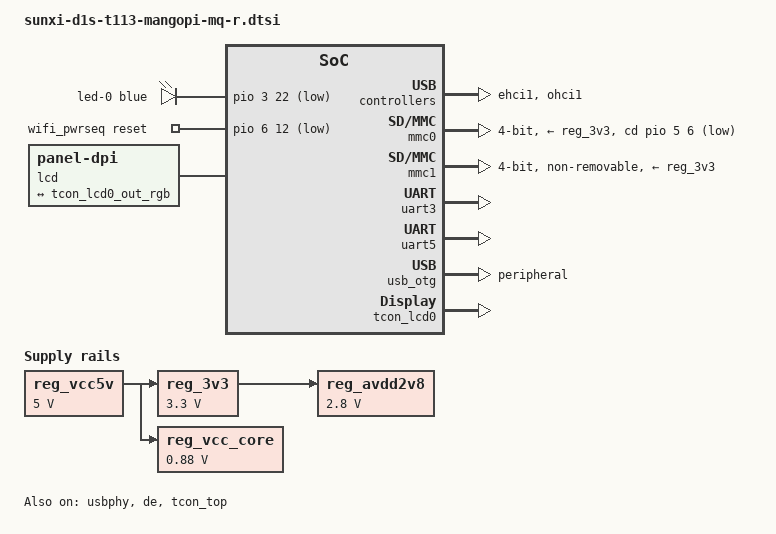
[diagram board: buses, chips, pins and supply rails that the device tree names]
// SPDX-License-Identifier: (GPL-2.0+ OR MIT)
// Copyright (C) 2022 Arm Ltd.
/*
 * Common peripherals and configurations for MangoPi MQ-R boards.
 */

#include <dt-bindings/gpio/gpio.h>
#include <dt-bindings/leds/common.h>

/ {
	aliases {
		serial5 = &uart5;
	};

	chosen {
		stdout-path = "serial5:115200n8";
		bootargs = "mem=128M cma=4M root=/dev/mmcblk0p2 init=/sbin/init console=ttyS5,115200 rootwait clk_ignore_unused drm.debug=0x3";
	};

	leds {
		compatible = "gpio-leds";

		led-0 {
			color = <LED_COLOR_ID_BLUE>;
			function = LED_FUNCTION_STATUS;
			gpios = <&pio 3 22 GPIO_ACTIVE_LOW>; /* PD22 */
		};
	};

	/* board wide 5V supply directly from the USB-C socket */
	reg_vcc5v: regulator-5v {
		compatible = "regulator-fixed";
		regulator-name = "vcc-5v";
		regulator-min-microvolt = <5000000>;
		regulator-max-microvolt = <5000000>;
		regulator-always-on;
	};

	/* SY8008 DC/DC regulator on the board */
	reg_3v3: regulator-3v3 {
		compatible = "regulator-fixed";
		regulator-name = "vcc-3v3";
		regulator-min-microvolt = <3300000>;
		regulator-max-microvolt = <3300000>;
		vin-supply = <&reg_vcc5v>;
	};

	/* SY8008 DC/DC regulator on the board, also supplying VDD-SYS */
	reg_vcc_core: regulator-core {
		compatible = "regulator-fixed";
		regulator-name = "vcc-core";
		regulator-min-microvolt = <880000>;
		regulator-max-microvolt = <880000>;
		vin-supply = <&reg_vcc5v>;
	};

	/* XC6206 LDO on the board */
	reg_avdd2v8: regulator-avdd {
		compatible = "regulator-fixed";
		regulator-name = "avdd2v8";
		regulator-min-microvolt = <2800000>;
		regulator-max-microvolt = <2800000>;
		vin-supply = <&reg_3v3>;
	};

	wifi_pwrseq: wifi-pwrseq {
		compatible = "mmc-pwrseq-simple";
		reset-gpios = <&pio 6 12 GPIO_ACTIVE_LOW>; /* PG12 */
	};

	panel_rgb: panel-rgb {
		compatible = "panel-dpi";
		label = "lcd";
		port {
			panel_in_rgb: endpoint {
				remote-endpoint = <&tcon_lcd0_out_rgb>;
			};
		};

		panel-timing {
			clock-frequency = <30000000>;
			hactive = <800>;
			vactive = <480>;
			hfront-porch = <40>;
			hback-porch = <88>;
			hsync-len = <1>;
			vback-porch = <32>;
			vfront-porch = <13>;
			vsync-len = <3>;

			hsync-active = <1>;
			vsync-active = <1>;
			de-active = <1>;
			pixelclk-active = <1>;
		};
	};
};

&dcxo {
	clock-frequency = <24000000>;
};

&ehci1 {
	status = "okay";
};

&mmc0 {
	pinctrl-0 = <&mmc0_pins>;
	pinctrl-names = "default";
	vmmc-supply = <&reg_3v3>;
	cd-gpios = <&pio 5 6 GPIO_ACTIVE_LOW>;
	disable-wp;
	bus-width = <4>;
	status = "okay";
};

&mmc1 {
	pinctrl-0 = <&mmc1_pins>;
	pinctrl-names = "default";
	vmmc-supply = <&reg_3v3>;
	non-removable;
	bus-width = <4>;
	mmc-pwrseq = <&wifi_pwrseq>;
	status = "okay";
};

&ohci1 {
	status = "okay";
};

&pio {
	vcc-pb-supply = <&reg_3v3>;
	vcc-pd-supply = <&reg_3v3>;
	vcc-pe-supply = <&reg_avdd2v8>;
	vcc-pf-supply = <&reg_3v3>;
	vcc-pg-supply = <&reg_3v3>;
};

&uart3 {
	pinctrl-names = "default";
	pinctrl-0 = <&uart3_pb_pins>;
	status = "okay";
};

&uart5 {
	pinctrl-names = "default";
	pinctrl-0 = <&uart5_pb_pins>;
	status = "okay";
};

/* The USB-C socket has its CC pins pulled to GND, so is hardwired as a UFP. */
&usb_otg {
	dr_mode = "peripheral";
	status = "okay";
};

&usbphy {
	usb1_vbus-supply = <&reg_vcc5v>;
	status = "okay";
};

&de {
	status = "okay";
};

&tcon_top {
	status = "okay";
};

&tcon_lcd0 {
	pinctrl-names = "default";
	pinctrl-0 = <&lcd_rgb666_pins>;

	status = "okay";
};

&tcon_lcd0_out {
	tcon_lcd0_out_rgb: endpoint@0 {
		reg = <0>;
		remote-endpoint = <&panel_in_rgb>;
	};
};

&tcon_tv0 {
	status = "disabled";
};
